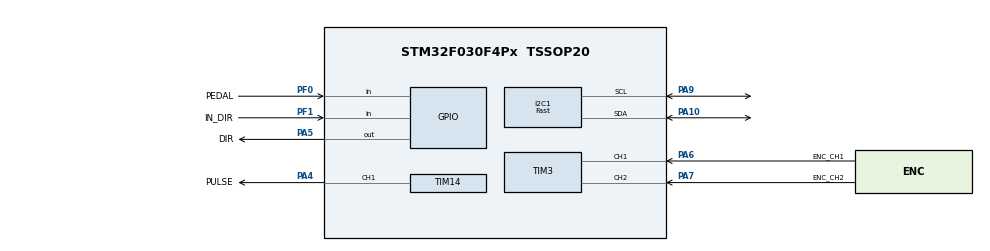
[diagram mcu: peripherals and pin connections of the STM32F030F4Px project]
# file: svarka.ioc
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I2C1.I2C_Speed_Mode=I2C_Fast
I2C1.Timing=0x0000020B
IWDG.Prescaler=IWDG_PRESCALER_128
Mcu.Family=STM32F0
Mcu.Name=STM32F030F4Px
Mcu.Package=TSSOP20
PA10.Mode=I2C
PA10.Signal=I2C1_SDA
PA13.Mode=Serial_Wire
PA13.Signal=SYS_SWDIO
PA14.Mode=Serial_Wire
PA14.Signal=SYS_SWCLK
PA4.GPIO_Label=PULSE
PA4.GPIO_PuPd=GPIO_PULLDOWN
PA4.Signal=S_TIM14_CH1
PA5.GPIO_Label=DIR
PA5.GPIO_PuPd=GPIO_PULLDOWN
PA5.Signal=GPIO_Output
PA6.GPIO_Label=ENC_CH1
PA6.GPIO_PuPd=GPIO_PULLDOWN
PA6.Signal=S_TIM3_CH1
PA7.GPIO_Label=ENC_CH2
PA7.GPIO_PuPd=GPIO_PULLDOWN
PA7.Signal=S_TIM3_CH2
PA9.Mode=I2C
PA9.Signal=I2C1_SCL
PF0-OSC_IN.GPIO_Label=PEDAL
PF0-OSC_IN.GPIO_PuPd=GPIO_PULLUP
PF0-OSC_IN.Signal=GPIO_Input
PF1-OSC_OUT.GPIO_Label=IN_DIR
PF1-OSC_OUT.GPIO_PuPd=GPIO_PULLUP
PF1-OSC_OUT.Signal=GPIO_Input
ProjectManager.HeapSize=0x100
ProjectManager.StackSize=0x400
ProjectManager.TargetToolchain=MDK-ARM V5.32
RCC.AHBFreq_Value=48000000
RCC.APB1Freq_Value=48000000
RCC.APB1TimFreq_Value=48000000
RCC.HCLKFreq_Value=48000000
RCC.PLLMUL=RCC_PLL_MUL12
RCC.SYSCLKFreq_VALUE=48000000
RCC.SYSCLKSource=RCC_SYSCLKSOURCE_PLLCLK
SH.S_TIM14_CH1.0=TIM14_CH1,PWM Generation1 CH1
SH.S_TIM3_CH1.0=TIM3_CH1,Encoder_Interface
SH.S_TIM3_CH2.0=TIM3_CH2,Encoder_Interface
TIM14.Channel=TIM_CHANNEL_1
TIM14.Period=999
TIM14.Prescaler=47
TIM14.Pulse=499
TIM3.IC1Filter=1
TIM3.IC2Filter=2
VP_IWDG_VS_IWDG.Mode=IWDG_Activate
VP_TIM14_VS_ClockSourceINT.Mode=Enable_Timer
board=custom

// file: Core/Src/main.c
/* USER CODE BEGIN Header */
/**
  ******************************************************************************
  * @file           : main.c
  * @brief          : Main program body
  ******************************************************************************
  * @attention
  *
  * Copyright (c) 2024 STMicroelectronics.
  * All rights reserved.
  *
  * This software is licensed under terms that can be found in the LICENSE file
  * in the root directory of this software component.
  * If no LICENSE file comes with this software, it is provided AS-IS.
  *
  ******************************************************************************
  */
/* USER CODE END Header */
#include "main.h"
#include "i2c.h"
#include "iwdg.h"
#include "tim.h"
#include "gpio.h"

/* USER CODE BEGIN Includes */
#include "typedef.h"
#include "ssd1306.h"
#include "button.h"
#include "drive.h"
#include "eeprom.h"
#include "stanok_math.h"
/* USER CODE END Includes */

/* USER CODE BEGIN PV */
turn_data_t number_turns = {0}; //структура с угловыми данными привода
encoder_data_t encoder_data = {0}; //структура с данными энкодера
/* USER CODE END PV */

void SystemClock_Config(void);
/* USER CODE BEGIN PFP */
void SysTick_Init(void);
/* USER CODE END PFP */

int main(void)
{

  /* MCU Configuration--------------------------------------------------------*/

  /* Reset of all peripherals, Initializes the Flash interface and the Systick. */
  LL_APB1_GRP2_EnableClock(LL_APB1_GRP2_PERIPH_SYSCFG);
  LL_APB1_GRP1_EnableClock(LL_APB1_GRP1_PERIPH_PWR);

  /* SysTick_IRQn interrupt configuration */
  NVIC_SetPriority(SysTick_IRQn, 3);

  /* Configure the system clock */
  SystemClock_Config();

  /* Initialize all configured peripherals */
  MX_GPIO_Init();
  MX_I2C1_Init();
  MX_TIM3_Init();
  MX_TIM14_Init();
	#ifdef __USE_IWDG
		MX_IWDG_Init();
	#endif
  /* USER CODE BEGIN 2 */
	SysTick_Init();
	timers_ini ();
	ssd1306_Init();
	delay_us (1000); //1 мс задержка
	drive_init (&number_turns);

  /* USER CODE END 2 */

  /* Infinite loop */
  /* USER CODE BEGIN WHILE */
  while (1)
  {
		main_loop (&encoder_data, &number_turns);
		#ifdef __USE_IWDG
			IWDG_Reset();
		#endif
    /* USER CODE END WHILE */

  }
}

void SystemClock_Config(void)
{
  LL_FLASH_SetLatency(LL_FLASH_LATENCY_1);
  while(LL_FLASH_GetLatency() != LL_FLASH_LATENCY_1)
  {
  }
  LL_RCC_HSI_Enable();

   /* Wait till HSI is ready */
  while(LL_RCC_HSI_IsReady() != 1)
  {

  }
  LL_RCC_HSI_SetCalibTrimming(16);
  LL_RCC_LSI_Enable();

   /* Wait till LSI is ready */
  while(LL_RCC_LSI_IsReady() != 1)
  {

  }
  LL_RCC_PLL_ConfigDomain_SYS(LL_RCC_PLLSOURCE_HSI_DIV_2, LL_RCC_PLL_MUL_12);
  LL_RCC_PLL_Enable();

   /* Wait till PLL is ready */
  while(LL_RCC_PLL_IsReady() != 1)
  {

  }
  LL_RCC_SetAHBPrescaler(LL_RCC_SYSCLK_DIV_1);
  LL_RCC_SetAPB1Prescaler(LL_RCC_APB1_DIV_1);
  LL_RCC_SetSysClkSource(LL_RCC_SYS_CLKSOURCE_PLL);

   /* Wait till System clock is ready */
  while(LL_RCC_GetSysClkSource() != LL_RCC_SYS_CLKSOURCE_STATUS_PLL)
  {

  }
  LL_Init1msTick(48000000);
  LL_SetSystemCoreClock(48000000);
  LL_RCC_SetI2CClockSource(LL_RCC_I2C1_CLKSOURCE_HSI);
}

/* USER CODE BEGIN 4 */
void SysTick_Init(void)
{
  MODIFY_REG(SysTick->LOAD,SysTick_LOAD_RELOAD_Msk,	(CPU_CLOCK/1000)-1);
  CLEAR_BIT(SysTick->VAL, SysTick_VAL_CURRENT_Msk);
  SET_BIT(SysTick->CTRL, SysTick_CTRL_CLKSOURCE_Msk | SysTick_CTRL_ENABLE_Msk | SysTick_CTRL_TICKINT_Msk);
}
/* USER CODE END 4 */

void Error_Handler(void)
{
  __disable_irq();
  while (1)
  {
  }
}
